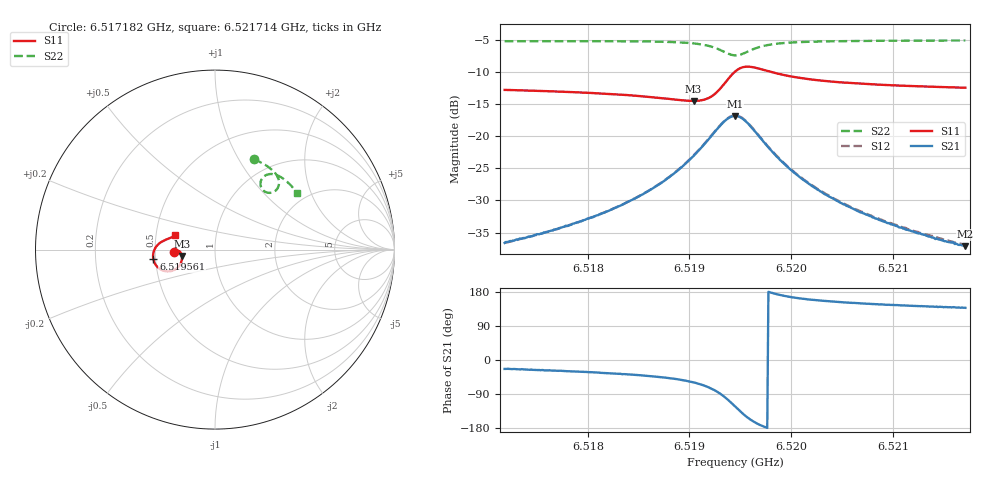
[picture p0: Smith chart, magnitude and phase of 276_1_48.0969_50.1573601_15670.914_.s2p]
#  HZ  S  RI  R  50.00
! Rohde & Schwarz Vector Network Analyzer
! Rohde-Schwarz,ZNB20-2Port,1311601062101988,3.16
! Created: UTC 12/23/2023, 4:02:16 AM
! freq[Hz]  re:S11  im:S11  re:S21  im:S21  re:S12  im:S12  re:S22  im:S22
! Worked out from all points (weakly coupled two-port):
!   401 points, 6.517182 GHz to 6.521714 GHz, reference 50 ohm
!   highest |S21| = -16.85 dB at 6.519448 GHz (marker M1); lowest = -37.1 dB at 6.521714 GHz (marker M2)
!   lowest |S11| = -14.5 dB at 6.51904 GHz (marker M3), VSWR 1.46, Z = 34.3 - j2.49 ohm
!   |S11| at or under -10 dB: start of sweep to 6.519444 GHz; 6.519804 GHz to end of sweep
!   |S22| runs from -7.4 to -5.1 dB; largest |S21 - S12| = 0.0044
!   S11 on the Smith chart (normalised r, x): 6.517182 GHz: 0.63, -0.02; 6.519561 GHz: 0.49, -0.06; 6.521714 GHz: 0.63, +0.10
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6.5171822e9  -0.229 -0.0134  0.0136 -0.00591  0.0139 -0.0054  0.2162 0.5042
6.5175221e9  -0.2251 -0.0086  0.0155 -0.00763  0.0157 -0.00724  0.2411 0.4932
6.5179412e9  -0.2187 -0.00402  0.0187 -0.0113  0.0191 -0.0107  0.2721 0.4767
6.5183378e9  -0.2102 -0.00272  0.0232 -0.0177  0.024 -0.0169  0.3019 0.4571
6.5187003e9  -0.1988 -0.00825  0.03 -0.0297  0.031 -0.0289  0.3301 0.4322
6.5188816e9  -0.1912 -0.0177  0.034 -0.0417  0.0355 -0.0409  0.3442 0.4138
6.5190402e9  -0.185 -0.035  0.0361 -0.0602  0.038 -0.0595  0.3545 0.3907
6.5191535e9  -0.1848 -0.0572  0.0323 -0.0817  0.0352 -0.0813  0.3567 0.367
6.5192328e9  -0.1923 -0.0799  0.0222 -0.1019  0.0254 -0.1021  0.3511 0.3463
6.5193574e9  -0.237 -0.1173  -0.0234 -0.1315  -0.0198 -0.1332  0.3158 0.3174
6.5194027e9  -0.2662 -0.1212  -0.0501 -0.1318  -0.0467 -0.1343  0.2945 0.3167
6.5194481e9  -0.2974 -0.1134  -0.0769 -0.1215  -0.0741 -0.1248  0.2739 0.3257
6.5195047e9  -0.3284 -0.0879  -0.1017 -0.0957  -0.0999 -0.0994  0.2568 0.3477
6.5195614e9  -0.3433 -0.0544  -0.1114 -0.0649  -0.1104 -0.0689  0.2537 0.373
6.5196746e9  -0.3373 -0.000223  -0.1002 -0.0195  -0.1004 -0.0225  0.2731 0.4077
6.5197879e9  -0.3174 0.0283  -0.08 0.00154  -0.0807 -0.000633  0.2988 0.4198
6.5199919e9  -0.2886 0.0485  -0.0536 0.013  -0.0546 0.0117  0.3342 0.4184
6.5202071e9  -0.2701 0.0565  -0.0381 0.0147  -0.0391 0.0139  0.3598 0.4081
6.520547e9  -0.2528 0.063  -0.0252 0.0137  -0.026 0.0132  0.3889 0.3886
6.5209662e9  -0.2401 0.0689  -0.0174 0.0118  -0.0178 0.0115  0.4167 0.3637
6.5214307e9  -0.2301 0.0754  -0.0124 0.01  -0.0129 0.01  0.4424 0.3352
6.5217139e9  -0.2251 0.079  -0.0103 0.0094  -0.0107 0.00924  0.4564 0.3177
